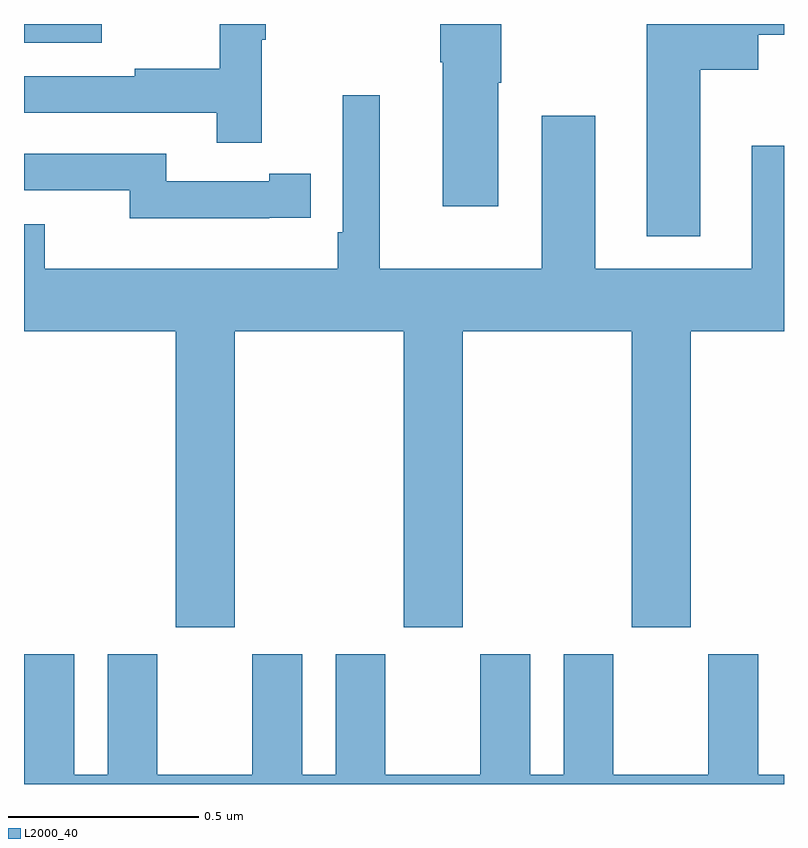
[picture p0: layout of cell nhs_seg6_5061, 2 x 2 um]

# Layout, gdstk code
import gdstk
lib = gdstk.Library(unit=1e-6, precision=1e-09)
def R(c, l, rs):  # rectangles x0, y0, x1, y1
    for r in rs: c.add(gdstk.rectangle(r[:2], r[2:], *l))
def P(c, l, *ps):  # polygons
    for p in ps: c.add(gdstk.Polygon(p, *l))
L2000_40 = (2000, 40)

nhs_seg6_5061 = lib.new_cell('nhs_seg6_5061')
R(nhs_seg6_5061, L2000_40, [(178,925.451,178.204,925.5)])
P(nhs_seg6_5061, L2000_40, [(179.248,925.345),(179.256,925.345),(179.256,925.5),(179.095,925.5),(179.095,925.399),(179.102,925.399),(179.102,925.02),(179.248,925.02)],
  [(179.779,925.379),(179.932,925.379),(179.932,925.472),(180,925.472),(180,925.5),(179.639,925.5),(179.639,924.941),(179.779,924.941)],
  [(178.625,925.459),(178.636,925.459),(178.636,925.5),(178.515,925.5),(178.515,925.382),(178.291,925.382),(178.291,925.362),(178,925.362),(178,925.266),(178.507,925.266),(178.507,925.188),(178.625,925.188)],
  [(178.554,924.692),(178.999,924.692),(178.999,923.913),(179.154,923.913),(179.154,924.692),(179.599,924.692),(179.599,923.913),(179.754,923.913),(179.754,924.692),(180,924.692),(180,925.18),(179.915,925.18),(179.915,924.856),(179.503,924.856),(179.503,925.258),(179.363,925.258),(179.363,924.856),(178.936,924.856),(178.936,925.312),(178.839,925.312),(178.839,924.952),(178.826,924.952),(178.826,924.856),(178.054,924.856),(178.054,924.973),(178,924.973),(178,924.692),(178.399,924.692),(178.399,923.913),(178.554,923.913)],
  [(178.646,924.99),(178.754,924.99),(178.754,925.106),(178.646,925.106),(178.646,925.086),(178.374,925.086),(178.374,925.158),(178,925.158),(178,925.062),(178.278,925.062),(178.278,924.989),(178.646,924.989)],
  [(180,923.524),(179.932,923.524),(179.932,923.842),(179.801,923.842),(179.801,923.524),(179.551,923.524),(179.551,923.842),(179.42,923.842),(179.42,923.524),(179.332,923.524),(179.332,923.842),(179.201,923.842),(179.201,923.524),(178.951,923.524),(178.951,923.842),(178.82,923.842),(178.82,923.524),(178.732,923.524),(178.732,923.842),(178.601,923.842),(178.601,923.524),(178.351,923.524),(178.351,923.842),(178.22,923.842),(178.22,923.524),(178.132,923.524),(178.132,923.842),(178,923.842),(178,923.5),(180,923.5)])

lib.write_gds('nhs_seg6_5061.gds')
